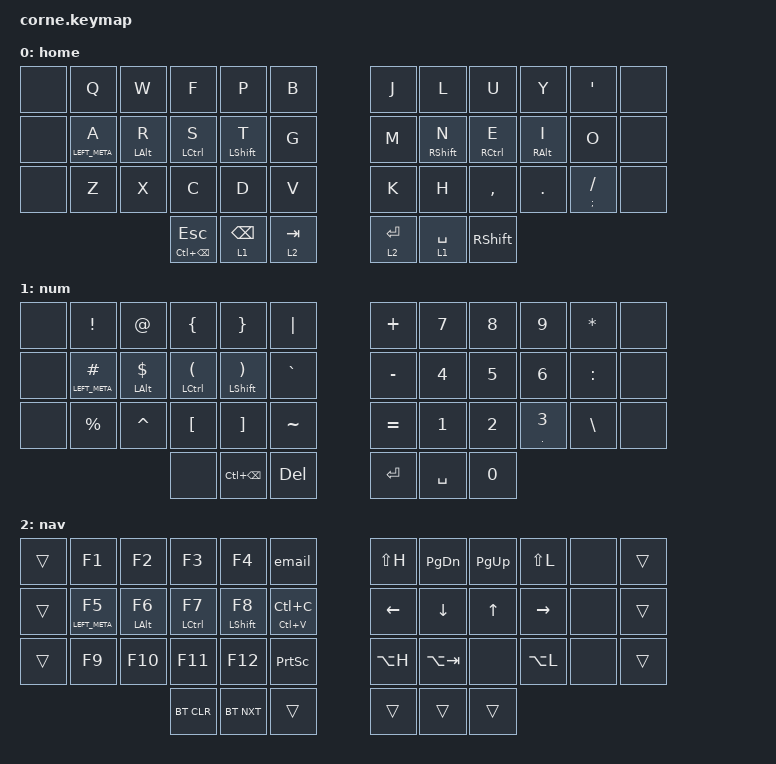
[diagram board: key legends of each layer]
/*
 * Copyright (c) 2020 The ZMK Contributors
 *
 * SPDX-License-Identifier: MIT
 */

#include <behaviors.dtsi>
#include <dt-bindings/zmk/bt.h>
#include <dt-bindings/zmk/keys.h>

/ {
    behaviors {
        hm: homerow_mods {
            compatible = "zmk,behavior-hold-tap";
            label = "HOMEROW_MODS";
            bindings = <&kp>, <&kp>;

            #binding-cells = <2>;
            tapping-term-ms = <200>;
            flavor = "tap-preferred";
            require-prior-idle-ms = <100>;
            quick-tap-ms = <200>;
        };

        shifthr: shifthr {
            compatible = "zmk,behavior-hold-tap";
            label = "SHIFTHR";
            bindings = <&kp>, <&kp>;

            #binding-cells = <2>;
            tapping-term-ms = <185>;
            flavor = "tap-preferred";
            quick-tap-ms = <185>;
        };

        weak: weak {
            compatible = "zmk,behavior-hold-tap";
            label = "WEAK";
            bindings = <&kp>, <&kp>;

            #binding-cells = <2>;
            tapping-term-ms = <230>;
            flavor = "tap-preferred";
            require-prior-idle-ms = <125>;
            quick-tap-ms = <230>;
        };

        backspace: backspace {
            compatible = "zmk,behavior-tap-dance";
            label = "BACKSPACE";
            #binding-cells = <0>;
            bindings = <&kp BACKSPACE>, <&kp LC(BACKSPACE)>;
        };
    };

    combos {
        compatible = "zmk,combos";

        caps {
            bindings = <&kp CAPS>;
            key-positions = <16 19>;
        };

        jk_fix {
            bindings = <&kp ESCAPE>;
            key-positions = <31 32>;
        };

        under {
            bindings = <&kp UNDER>;
            key-positions = <28 31>;
        };

        dash {
            bindings = <&kp MINUS>;
            key-positions = <4 7>;
        };
    };

    keymap {
        compatible = "zmk,keymap";

        home {
            // -----------------------------------------------------------------------------------------
            // |  TAB |  Q  |  W  |  E  |  R  |  T  |   |  Y  |  U   |  I  |  O  |  P  | BKSP |
            // | CTRL |  A  |  S  |  D  |  F  |  G  |   |  H  |  J   |  K  |  L  |  ;  |  '   |
            // | SHFT |  Z  |  X  |  C  |  V  |  B  |   |  N  |  M   |  ,  |  .  |  /  | ESC  |
            //                    | GUI | LWR | SPC |   | ENT | RSE  | ALT |

            bindings = <
&none  &kp Q              &kp W             &kp F                     &kp P                  &kp B        &kp J        &kp L              &kp U             &kp Y              &kp APOS             &none
&none  &weak LEFT_META A  &weak LEFT_ALT R  &shifthr LEFT_CONTROL S   &shifthr LEFT_SHIFT T  &kp G        &kp M        &shifthr RSHIFT N  &shifthr RCTRL E  &weak RIGHT_ALT I  &kp O                &none
&none  &kp Z              &kp X             &kp C                     &kp D                  &kp V        &kp K        &kp H              &kp COMMA         &kp DOT            &hm SEMICOLON SLASH  &none
                                            &hm LC(BACKSPACE) ESCAPE  &lt 1 BACKSPACE        &lt 2 TAB    &lt 2 ENTER  &lt 1 SPACE        &kp RIGHT_SHIFT
            >;

            label = "home";
        };

        num {
            // -----------------------------------------------------------------------------------------
            // |  TAB |  !  |  @  |  #  |  $  |  %  |   |  ^  |  &  |  *  |  (  |  )  | BKSP |
            // | CTRL |     |     |     |     |     |   |  -  |  =  |  [  |  ]  |  \  |  `   |
            // | SHFT |     |     |     |     |     |   |  _  |  +  |  {  |  }  | "|" |  ~   |
            //                    | GUI |     | SPC |   | ENT |     | ALT |

            bindings = <
&none  &kp EXCL            &kp AT               &kp LEFT_BRACE              &kp RIGHT_BRACE                   &kp PIPE     &kp PLUS   &kp NUMBER_7  &kp N8        &kp N9                    &kp ASTERISK   &none
&none  &hm LEFT_META HASH  &hm LEFT_ALT DOLLAR  &hm LCTRL LEFT_PARENTHESIS  &hm LEFT_SHIFT RIGHT_PARENTHESIS  &kp GRAVE    &kp MINUS  &kp NUMBER_4  &kp NUMBER_5  &kp NUMBER_6              &kp COLON      &none
&none  &kp PERCENT         &kp CARET            &kp LEFT_BRACKET            &kp RIGHT_BRACKET                 &kp TILDE    &kp EQUAL  &kp NUMBER_1  &kp NUMBER_2  &shifthr PERIOD NUMBER_3  &kp BACKSLASH  &none
                                                &none                       &kp LC(BACKSPACE)                 &kp DEL      &kp RET    &kp SPACE     &kp N0
            >;

            label = "num";
        };

        nav {
            bindings = <
&trans  &kp F1            &kp F2           &kp F3        &kp F4             &email             &kp LS(H)       &kp PAGE_DOWN  &kp PG_UP     &kp LS(L)  &none  &trans
&trans  &hm LEFT_META F5  &hm LEFT_ALT F6  &hm LCTRL F7  &hm LEFT_SHIFT F8  &hm LC(V) LC(C)    &kp LEFT_ARROW  &kp DOWN       &kp UP_ARROW  &kp RIGHT  &none  &trans
&trans  &kp F9            &kp F10          &kp F11       &kp F12            &kp PSCRN          &kp LA(H)       &kp LA(TAB)    &none         &kp LA(L)  &none  &trans
                                           &bt BT_CLR    &bt BT_NXT         &trans             &trans          &trans         &trans
            >;

            label = "nav";
        };
    };
};
